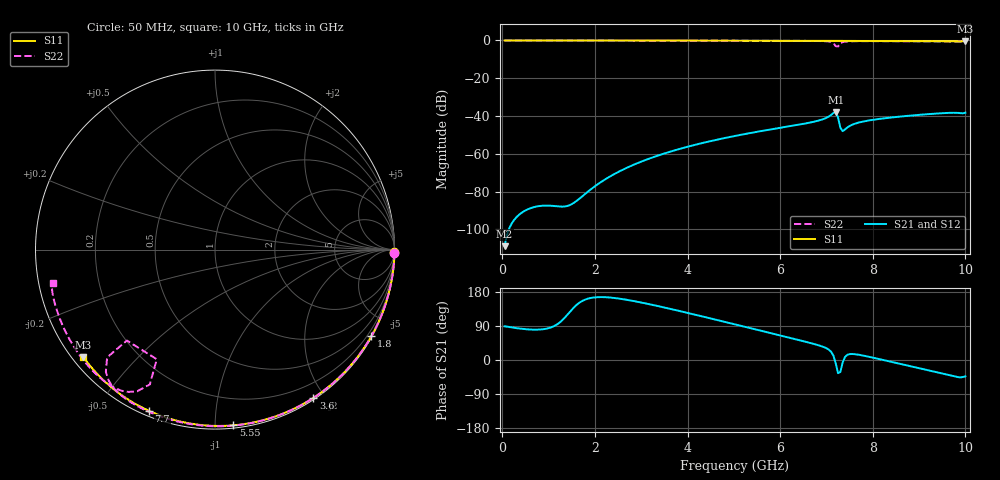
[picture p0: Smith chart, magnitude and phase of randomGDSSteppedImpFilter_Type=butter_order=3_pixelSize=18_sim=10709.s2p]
! freq	dB(S11)	phase(S11)	dB(S12)	phase(S12)
!  dB(S21)	phase(S21)	dB(S22)	phase(S22)
!S-par simulation data
#  GHz  S  DB  R 50
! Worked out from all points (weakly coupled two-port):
!   200 points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, 50 MHz to 10 GHz, reference 50 ohm
!   highest |S21| = -37.86 dB at 7.2 GHz (marker M1); lowest = -108.8 dB at 50 MHz (marker M2)
!   lowest |S11| = -0.5 dB at 10 GHz (marker M3), VSWR 36.59, Z = 1.54 - j17.8 ohm
!   |S11| at or under -10 dB: nowhere
!   |S22| runs from -3.2 to 0.0 dB; largest |S21 - S12| = 0
!   S11 on the Smith chart (normalised r, x): 50 MHz: open; 1.8 GHz: 0.03, -3.88; 3.6 GHz: 0.02, -1.86; 5.55 GHz: 0.02, -1.11; 7.7 GHz: 0.02, -0.67; 10 GHz: 0.03, -0.36
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0.05  -0.00 -0.8  -108.84 89.0  -108.84 89.0  -0.00 -1.0
0.85  -0.02 -13.8  -87.47 80.8  -87.47 80.8  -0.02 -16.4
1.75  -0.04 -28.1  -81.98 157.2  -81.98 157.2  -0.04 -33.4
1.8  -0.04 -28.9  -80.97 159.9  -80.97 159.9  -0.04 -34.4
1.85  -0.04 -29.7  -79.97 161.9  -79.97 161.9  -0.04 -35.3
2.2  -0.04 -35.2  -73.82 165.9  -73.82 165.9  -0.05 -41.8
2.55  -0.05 -40.6  -69.01 161.6  -69.01 161.6  -0.06 -48.2
3.4  -0.07 -53.4  -60.59 141.3  -60.59 141.3  -0.08 -63.4
3.6  -0.08 -56.4  -59.04 135.7  -59.04 135.7  -0.09 -66.9
5.05  -0.12 -77.2  -50.40 93.3  -50.40 93.3  -0.14 -91.5
5.55  -0.14 -84.1  -48.12 78.3  -48.12 78.3  -0.16 -99.7
6.7  -0.19 -99.4  -43.15 43.3  -43.15 43.3  -0.26 -119.5
7.05  -0.21 -103.9  -40.26 27.3  -40.26 27.3  -0.54 -129.1
7.15  -0.22 -105.2  -38.37 11.7  -38.37 11.7  -1.41 -135.0
7.2  -0.22 -105.9  -37.86 -8.9  -37.86 -8.9  -3.03 -134.1
7.25  -0.23 -106.5  -40.79 -34.8  -40.79 -34.8  -3.20 -118.0
7.3  -0.23 -107.2  -46.17 -31.6  -46.17 -31.6  -1.57 -115.8
7.35  -0.23 -107.8  -47.98 -6.7  -47.98 -6.7  -0.91 -118.8
7.5  -0.24 -109.7  -45.26 15.5  -45.26 15.5  -0.45 -125.0
7.7  -0.26 -112.2  -43.42 13.8  -43.42 13.8  -0.37 -129.9
8.35  -0.31 -120.4  -40.90 -3.4  -40.90 -3.4  -0.39 -141.4
10  -0.47 -140.9  -38.21 -43.2  -38.21 -43.2  -0.69 -168.3
